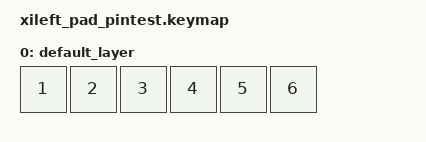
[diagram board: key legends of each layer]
/*
 * SPDX-License-Identifier: MIT
 *
 * 診断専用テストキーマップ。
 * エンコーダの A/B 各線がそのまま数字キーになっている。
 */

#include <behaviors.dtsi>
#include <dt-bindings/zmk/keys.h>

/ {
    keymap {
        compatible = "zmk,keymap";

        default_layer {
            bindings = <
                &kp N1   // ROT0 D13 P1.01  enc1 A
                &kp N2   // ROT1 D14 P0.09  enc1 B
                &kp N3   // ROT2 D15 P0.10  enc2 A
                &kp N4   // ROT3 D12 P0.19  enc2 B
                &kp N5   // ROT4 D17 P1.03  enc3 A
                &kp N6   // ROT5 D18 P1.05  enc3 B
            >;
        };
    };
};
